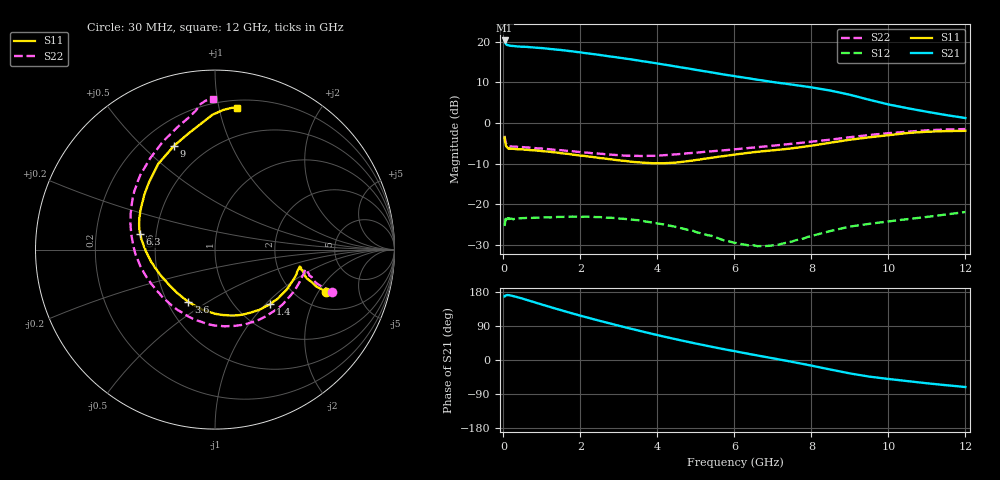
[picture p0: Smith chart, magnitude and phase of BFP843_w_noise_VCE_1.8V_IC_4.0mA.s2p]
! Infineon Technologies  Discrete & RF Semiconductors
! BFP843
! VCE =  1.8 V,  IC =  4.0 mA
! Common Emitter S-Parameters:  Aug 2013
# GHz  S  MA  R  50
!  f  S11  S21  S12  S22
! GHz  MAG  ANG  MAG  ANG  MAG  ANG  MAG  ANG
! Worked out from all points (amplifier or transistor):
!   103 points, 30 MHz to 12 GHz, reference 50 ohm
!   highest |S21| = 20.3 dB at 30 MHz (marker M1)
!   |S21| within 3 dB of that: start of sweep to 2.049 GHz
!   unconditionally stable (mu >= 1): 160.7 MHz to 939.6 MHz; 2.37 GHz to 10.96 GHz
!   at 400 MHz: K = 1.01, MAG = 20.5 dB, |S12| = -23.5 dB
!   at 3.7 GHz: K = 1.20, MAG = 17.0 dB, |S12| = -24.3 dB
!   at 12 GHz: K = 0.82, MSG = 11.5 dB, |S12| = -21.9 dB
!   lowest NFmin = 0.97 dB at 450 MHz
!   S11 on the Smith chart (normalised r, x): 30 MHz: 2.81, -2.35; 1.4 GHz: 1.42, -1.06; 3.6 GHz: 0.64, -0.41; 6.3 GHz: 0.41, +0.09; 9 GHz: 0.33, +0.63; 12 GHz: 0.26, +1.14
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0.03  0.6623 -20.7  10.33 167.9  0.0541 34.3  0.6957 -19.8
0.04  0.5991 -20.0  9.871 168.3  0.0583 26.4  0.6358 -19.2
0.05  0.5688 -18.6  9.568 170.1  0.0638 21.1  0.5966 -18.4
0.07  0.5196 -16.0  9.231 170.8  0.064 17.7  0.5592 -15.8
0.15  0.4885 -11.8  8.96 171.0  0.0659 8.6  0.5196 -12.3
0.7  0.4635 -23.5  8.531 155.7  0.068 -0.7  0.4981 -27.7
1  0.451 -32.4  8.331 146.3  0.069 -3.1  0.4854 -38.7
1.4  0.4328 -44.8  7.948 134.3  0.07 -5.7  0.4658 -53.4
1.8  0.4081 -57.5  7.585 122.6  0.0708 -9.6  0.4492 -68.2
2.1  0.3933 -67.2  7.249 114.2  0.0705 -12.8  0.4333 -79.3
2.4  0.3769 -77.0  6.967 106.1  0.0697 -15.1  0.4236 -89.8
2.9  0.3511 -93.5  6.459 93.0  0.0679 -21.2  0.4044 -107.8
3.6  0.3261 -117.1  5.755 75.4  0.0628 -27.9  0.3923 -132.4
4.1  0.3197 -134.8  5.286 63.4  0.0572 -31.9  0.3989 -148.6
5.1  0.3549 -166.6  4.419 41.3  0.0444 -36.1  0.4354 -173.3
6.1  0.4146 171.9  3.697 21.4  0.0333 -26.7  0.4789 167.7
6.3  0.4263 168.1  3.579 17.6  0.0317 -23.6  0.4894 164.1
7.3  0.477 149.0  3.055 -1.1  0.0333 -1.5  0.5435 147.2
8.5  0.5726 123.6  2.498 -25.3  0.0471 7.2  0.6243 125.3
9  0.6226 111.4  2.223 -35.4  0.0533 5.2  0.6683 115.7
10.5  0.7522 91.0  1.518 -55.7  0.0658 -1.2  0.7808 97.9
12  0.8 81.0  1.15 -71.3  0.0805 -9.2  0.8416 90.7
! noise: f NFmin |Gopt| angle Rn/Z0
0.45  0.97  0.21  8  0.02
0.9  0.99  0.23  18  0.03
1.5  1.02  0.22  29  0.11
1.9  1.06  0.2  40  0.19
2.4  1.1  0.18  50  0.28
3.5  1.2  0.15  67  0.34
5.5  1.38  0.14  -172  0.4
10  2.27  0.52  -77  0.46
